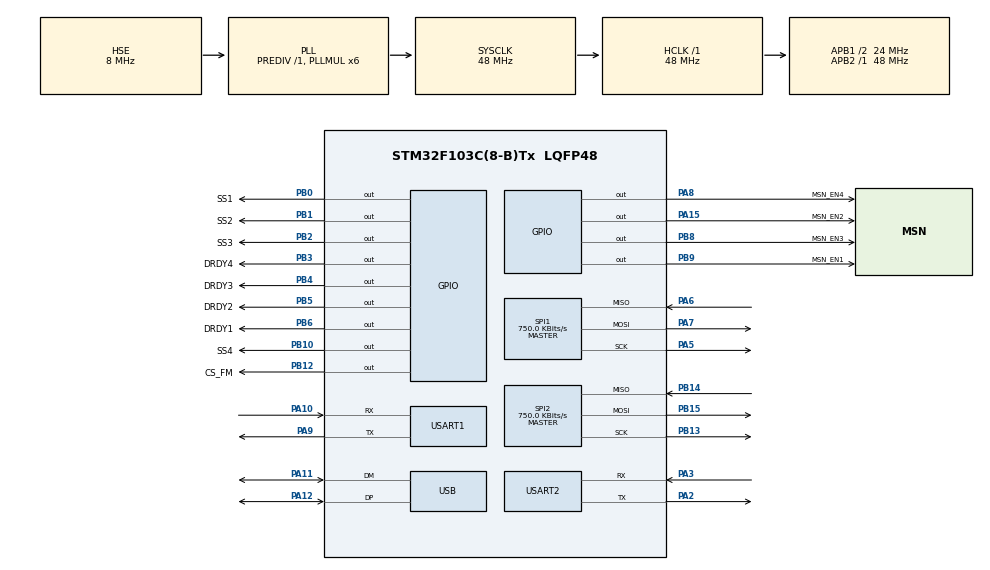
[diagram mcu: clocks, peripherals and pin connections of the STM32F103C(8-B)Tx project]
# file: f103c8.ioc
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Mcu.Family=STM32F1
Mcu.Name=STM32F103C(8-B)Tx
Mcu.Package=LQFP48
NVIC.PriorityGroup=NVIC_PRIORITYGROUP_4
NVIC.RTC_IRQn=true\:0\:0\:false\:false\:true\:true\:true
NVIC.SPI1_IRQn=true\:0\:0\:false\:false\:true\:true\:true
NVIC.SPI2_IRQn=true\:0\:0\:false\:false\:true\:true\:true
NVIC.USB_HP_CAN1_TX_IRQn=true\:0\:0\:false\:false\:true\:true\:true
NVIC.USB_LP_CAN1_RX0_IRQn=true\:0\:0\:false\:false\:true\:true\:true
PA10.Mode=Asynchronous
PA10.Signal=USART1_RX
PA11.Mode=Device
PA11.Signal=USB_DM
PA12.Mode=Device
PA12.Signal=USB_DP
PA13.Mode=Serial_Wire
PA13.Signal=SYS_JTMS-SWDIO
PA14.Mode=Serial_Wire
PA14.Signal=SYS_JTCK-SWCLK
PA15.GPIO_Label=MSN_EN2
PA15.Signal=GPIO_Output
PA2.Mode=Asynchronous
PA2.Signal=USART2_TX
PA3.Mode=Asynchronous
PA3.Signal=USART2_RX
PA5.Mode=Full_Duplex_Master
PA5.Signal=SPI1_SCK
PA6.Mode=Full_Duplex_Master
PA6.Signal=SPI1_MISO
PA7.Mode=Full_Duplex_Master
PA7.Signal=SPI1_MOSI
PA8.GPIO_Label=MSN_EN4
PA8.Signal=GPIO_Output
PA9.Mode=Asynchronous
PA9.Signal=USART1_TX
PB0.GPIO_Label=SS1
PB0.Signal=GPIO_Output
PB1.GPIO_Label=SS2
PB1.Signal=GPIO_Output
PB10.GPIO_Label=SS4
PB10.Signal=GPIO_Output
PB12.GPIO_Label=CS_FM
PB12.Signal=GPIO_Output
PB13.Mode=Full_Duplex_Master
PB13.Signal=SPI2_SCK
PB14.Mode=Full_Duplex_Master
PB14.Signal=SPI2_MISO
PB15.Mode=Full_Duplex_Master
PB15.Signal=SPI2_MOSI
PB2.GPIO_Label=SS3
PB2.Signal=GPIO_Output
PB3.GPIO_Label=DRDY4
PB3.Signal=GPIO_Output
PB4.GPIO_Label=DRDY3
PB4.Signal=GPIO_Output
PB5.GPIO_Label=DRDY2
PB5.Signal=GPIO_Output
PB6.GPIO_Label=DRDY1
PB6.Signal=GPIO_Output
PB8.GPIO_Label=MSN_EN3
PB8.Signal=GPIO_Output
PB9.GPIO_Label=MSN_EN1
PB9.Signal=GPIO_Output
PD0-OSC_IN.Mode=HSE-External-Oscillator
PD0-OSC_IN.Signal=RCC_OSC_IN
PD1-OSC_OUT.Mode=HSE-External-Oscillator
PD1-OSC_OUT.Signal=RCC_OSC_OUT
ProjectManager.HeapSize=0x200
ProjectManager.StackSize=0x400
ProjectManager.TargetToolchain=STM32CubeIDE
RCC.AHBFreq_Value=48000000
RCC.APB1CLKDivider=RCC_HCLK_DIV2
RCC.APB1Freq_Value=24000000
RCC.APB1TimFreq_Value=48000000
RCC.APB2Freq_Value=48000000
RCC.APB2TimFreq_Value=48000000
RCC.HCLKFreq_Value=48000000
RCC.PLLMUL=RCC_PLL_MUL6
RCC.PLLSourceVirtual=RCC_PLLSOURCE_HSE
RCC.SYSCLKFreq_VALUE=48000000
RCC.SYSCLKSource=RCC_SYSCLKSOURCE_PLLCLK
RCC.USBFreq_Value=48000000
SPI1.BaudRatePrescaler=SPI_BAUDRATEPRESCALER_64
SPI1.CalculateBaudRate=750.0 KBits/s
SPI1.Direction=SPI_DIRECTION_2LINES
SPI1.Mode=SPI_MODE_MASTER
SPI1.VirtualType=VM_MASTER
SPI2.BaudRatePrescaler=SPI_BAUDRATEPRESCALER_32
SPI2.CalculateBaudRate=750.0 KBits/s
SPI2.Direction=SPI_DIRECTION_2LINES
SPI2.Mode=SPI_MODE_MASTER
SPI2.VirtualType=VM_MASTER
USART1.VirtualMode=VM_ASYNC
USART2.VirtualMode=VM_ASYNC
VP_RTC_VS_RTC_Activate.Mode=RTC_Enabled
board=custom

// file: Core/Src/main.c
/* USER CODE BEGIN Header */
/**
  ******************************************************************************
  * @file           : main.c
  * @brief          : Main program body
  ******************************************************************************
  * @attention
  *
  * <h2><center>&copy; Copyright (c) 2024 STMicroelectronics.
  * All rights reserved.</center></h2>
  *
  * This software component is licensed by ST under BSD 3-Clause license,
  * the "License"; You may not use this file except in compliance with the
  * License. You may obtain a copy of the License at:
  *                        opensource.org/licenses/BSD-3-Clause
  *
  ******************************************************************************
  */
/* USER CODE END Header */
#include "main.h"

/* USER CODE BEGIN Includes */
#include "stdarg.h"
#include "RM3100QUAD.h"
/* USER CODE END Includes */

/* USER CODE BEGIN PTD */
//#define CDC_USB_DEBUG
#define UART_DEBUG
/* USER CODE END PTD */

/* USER CODE BEGIN PD */
#define sector_size 32
/* USER CODE END PD */

/* USER CODE BEGIN PM */
void myprintf(const char *fmt, ...);
/* USER CODE END PM */

RTC_HandleTypeDef hrtc;

SPI_HandleTypeDef hspi1;
SPI_HandleTypeDef hspi2;

UART_HandleTypeDef huart1;
UART_HandleTypeDef huart2;

PCD_HandleTypeDef hpcd_USB_FS;

/* USER CODE BEGIN PV */
uint16_t address = 0x00;
uint8_t status_reg=0;
uint8_t READ_FLAG=0;
int tx[70];
uint16_t time_counter=0;

uint8_t DEBUG_DATA_RX_FLAG = 0;
// variables used by the filesystem
typedef struct{
	uint32_t secCount;
	uint32_t bootCount;
}app_count_t;
uint8_t data[20];

app_count_t Counter = {0};
//Command for run in differents minutes
uint8_t COMMAND1[] = {0x53,0x0e,0x0d,0x0e,0x01,0x7e}; //Command for 1 minutes
uint8_t COMMAND2[] = {0x53,0x0e,0x0d,0x0e,0x02,0x7e}; //Command for 2 minutes
uint8_t COMMAND3[] = {0x53,0x0e,0x0d,0x0e,0x03,0x7e}; //Command for 3 minutes
uint8_t COMMAND4[] = {0x53,0x0e,0x0d,0x0e,0x04,0x7e}; //command for 4 minutes
uint8_t COMMAND5[] = {0x53,0x0e,0x0d,0x0e,0x05,0x7e}; //command for 5 minutes
uint8_t OBC_HANDSHAKE_SUCESS,OBC_HANDSHAKE_RX[7]={'\0'},OBC_HANDSHAKE_TX[7]={'\0'};//,OBC_HANDSHAKE_RX[7]={'\0'};
uint8_t Read_time = {0};
/* USER CODE END PV */

void SystemClock_Config(void);
static void MX_GPIO_Init(void);
static void MX_SPI1_Init(void);
static void MX_SPI2_Init(void);
static void MX_USART1_UART_Init(void);
static void MX_USART2_UART_Init(void);
static void MX_RTC_Init(void);
static void MX_USB_PCD_Init(void);
/* USER CODE BEGIN PFP */
//Handshake between OBC(Onboard computer) and EPDM board and compare command for run in different minutes
uint8_t OBC_COMMAND(){
	memset(OBC_HANDSHAKE_RX, '\0', sizeof(OBC_HANDSHAKE_RX));
	memset(OBC_HANDSHAKE_TX, '\0', sizeof(OBC_HANDSHAKE_TX));
	OBC_HANDSHAKE_SUCESS = 0;
	do{
	if(HAL_UART_Receive(&huart2, OBC_HANDSHAKE_RX, sizeof(OBC_HANDSHAKE_RX),1000)==HAL_OK){
		if(HAL_UART_Transmit(&huart2, OBC_HANDSHAKE_RX, sizeof(OBC_HANDSHAKE_RX), 3000)==HAL_OK){
			if(OBC_HANDSHAKE_RX[0] == COMMAND1[0] && OBC_HANDSHAKE_RX[1] == COMMAND1[1] && OBC_HANDSHAKE_RX[2] == COMMAND1[2] && OBC_HANDSHAKE_RX[3] == COMMAND1[3] && OBC_HANDSHAKE_RX[4] == COMMAND1[4] && OBC_HANDSHAKE_RX[5] == COMMAND1[5] && OBC_HANDSHAKE_RX[6] == COMMAND1[6] )
				{
				OBC_HANDSHAKE_SUCESS = 1;
				Read_time = 1; //Sets board run for 1 minutes
				HAL_UART_Transmit(&huart1, "COMMAND SUCCESSFULLY\n", "COMMAND SUCCESSFULLY", 1000);

				}
			else if(OBC_HANDSHAKE_RX[0] == COMMAND2[0] && OBC_HANDSHAKE_RX[1] == COMMAND2[1] && OBC_HANDSHAKE_RX[2] == COMMAND2[2] && OBC_HANDSHAKE_RX[3] == COMMAND2[3] && OBC_HANDSHAKE_RX[4] == COMMAND2[4] && OBC_HANDSHAKE_RX[5] == COMMAND2[5] && OBC_HANDSHAKE_RX[6] == COMMAND2[6] )
				{
				OBC_HANDSHAKE_SUCESS = 1;
				Read_time = 2;  //Sets board run for 2 minutes
				HAL_UART_Transmit(&huart1, "COMMAND SUCCESSFULLY\n", "COMMAND SUCCESSFULLY", 1000);

				}
			else if(OBC_HANDSHAKE_RX[0] == COMMAND3[0] && OBC_HANDSHAKE_RX[1] == COMMAND3[1] && OBC_HANDSHAKE_RX[2] == COMMAND3[2] && OBC_HANDSHAKE_RX[3] == COMMAND3[3] && OBC_HANDSHAKE_RX[4] == COMMAND3[4] && OBC_HANDSHAKE_RX[5] == COMMAND3[5] && OBC_HANDSHAKE_RX[6] == COMMAND3[6] )
				{
				OBC_HANDSHAKE_SUCESS = 1;
				Read_time = 3; //Sets board run for 3 minutes
				HAL_UART_Transmit(&huart1, "COMMAND SUCCESSFULLY\n", "COMMAND SUCCESSFULLY", 1000);

				}
			else if(OBC_HANDSHAKE_RX[0] == COMMAND4[0] && OBC_HANDSHAKE_RX[1] == COMMAND4[1] && OBC_HANDSHAKE_RX[2] == COMMAND4[2] && OBC_HANDSHAKE_RX[3] == COMMAND4[3] && OBC_HANDSHAKE_RX[4] == COMMAND4[4] && OBC_HANDSHAKE_RX[5] == COMMAND4[5] && OBC_HANDSHAKE_RX[6] == COMMAND4[6] )
				{
				OBC_HANDSHAKE_SUCESS = 1;
				Read_time = 4;  //Sets board run for 4 minutes
				HAL_UART_Transmit(&huart1, "COMMAND SUCCESSFULLY\n", "COMMAND SUCCESSFULLY", 1000);

				}
			else if(OBC_HANDSHAKE_RX[0] == COMMAND5[0] && OBC_HANDSHAKE_RX[1] == COMMAND5[1] && OBC_HANDSHAKE_RX[2] == COMMAND5[2] && OBC_HANDSHAKE_RX[3] == COMMAND5[3] && OBC_HANDSHAKE_RX[4] == COMMAND5[4] && OBC_HANDSHAKE_RX[5] == COMMAND5[5] && OBC_HANDSHAKE_RX[6] == COMMAND5[6] )
				{
				OBC_HANDSHAKE_SUCESS = 1;
				Read_time = 5;  //Sets board run for 5 minutes
				HAL_UART_Transmit(&huart1, "COMMAND SUCCESSFULLY\n", "COMMAND SUCCESSFULLY", 1000);

				}
			else{
				  Read_time = 5;
				  OBC_HANDSHAKE_SUCESS = 1;

//				  HAL_UART_Transmit(&huart1, "xxxxxxCOMMAND ERRORxxxxxx", sizeof("xxxxxxCOMMAND ERRORxxxxxx"), 1000);
			}
		}
	}
	}while(!OBC_HANDSHAKE_SUCESS);
	return OBC_HANDSHAKE_SUCESS;
}
/* USER CODE END PFP */

/* USER CODE BEGIN 0 */

// Function to read data from a file in LittleFS

/* USER CODE END 0 */

int main(void)
{

  /* MCU Configuration--------------------------------------------------------*/

  /* Reset of all peripherals, Initializes the Flash interface and the Systick. */
  HAL_Init();

  /* Configure the system clock */
  SystemClock_Config();

  /* Initialize all configured peripherals */
  MX_GPIO_Init();
  MX_SPI1_Init();
  MX_SPI2_Init();
  MX_USART1_UART_Init();
  MX_USART2_UART_Init();
  MX_RTC_Init();
  MX_USB_PCD_Init();
  /* USER CODE BEGIN 2 */
  HAL_UART_Transmit(&huart1, "*****************EPDM starting**************\n",sizeof("*****************EPDM starting**************\n"),1000);

//  OBC_HANDSHAKE();
  OBC_COMMAND();
  HAL_GPIO_WritePin(GPIOB, MSN_EN1_Pin, SET); // Set PB9 high
  HAL_GPIO_WritePin(GPIOB, MSN_EN2_Pin, SET); // Set PB8 high
  HAL_GPIO_WritePin(GPIOB, MSN_EN3_Pin, SET); // Set PA15 high
  HAL_GPIO_WritePin(GPIOB, MSN_EN4_Pin, SET); // Set PA8 high
  uint8_t data[20];

//Read ID of Flash memory
  while(1){
	  Read_ID(&hspi2, GPIOB, GPIO_PIN_12, data);
	  if(data[0] == 32){
		  break;
	  }
	  HAL_Delay(10000);
  }
 //Sets parameters of RM3100 magnetometer differents modes
    for(int i=0;i<4;i++){
    	SET_COUNT(i);
    	Continuous_Mode(i);
    	TMRC_Mode(i);
    }
    uint32_t count=0;
    __init_storage();
    uint8_t last[]={'E','P','D','M'}; //Stores before reading data and after reading data
    uint8_t eom[]={0xff,0xd9,'\0'}; //OBC stops mission if received

    HAL_UART_Transmit(&huart2, last, sizeof(last), 1000);//Before reading
    if (Read_time >= 1 && Read_time <= 5) {
    	      uint32_t startTime = HAL_GetTick();  // Record the start time
    	      uint32_t maxDuration = Read_time * 60 * 1000;  // Maximum duration in milliseconds

    	      while (HAL_GetTick() - startTime < maxDuration) {  // Run loop according to the value of Read_time
    	          for (int i = 0; i < 4; i++) {
    	              Mea_Result(i);
    	              Comb_measurement(i);
    	              count += 6;
    	          }
    	          HAL_Delay(100);  // Small delay between measurements
    	      }

    	      // Transmit the total count of bytes sent
    	      myDebug("%d",count);
    	      count = 0;  // Reset count after transmitting
    	      HAL_UART_Transmit(&huart2, last, sizeof(last), 1000); //after reading
    	      HAL_UART_Transmit(&huart2, eom, sizeof(eom), 1000); // OBC stops or turned off EPDM mission
    	      HAL_Delay(90000);  // Wait for 1 minute after sending EOM

    	  } else {
    	      // If Read_time is not in the valid range, send an error message
    	      HAL_UART_Transmit(&huart1, (uint8_t*)"xxxxxx**********ReadTimeInvalid**********xxxxxx", sizeof("xxxxxx**********ReadTimeInvalid**********xxxxxx"), 1000);
    	  }

  /* USER CODE END 2 */

  /* Infinite loop */
  while (1)
  {

  }
}

void SystemClock_Config(void)
{
  RCC_OscInitTypeDef RCC_OscInitStruct = {0};
  RCC_ClkInitTypeDef RCC_ClkInitStruct = {0};
  RCC_PeriphCLKInitTypeDef PeriphClkInit = {0};

  /** Initializes the RCC Oscillators according to the specified parameters
  * in the RCC_OscInitTypeDef structure.
  */
  RCC_OscInitStruct.OscillatorType = RCC_OSCILLATORTYPE_LSI|RCC_OSCILLATORTYPE_HSE;
  RCC_OscInitStruct.HSEState = RCC_HSE_ON;
  RCC_OscInitStruct.HSEPredivValue = RCC_HSE_PREDIV_DIV1;
  RCC_OscInitStruct.HSIState = RCC_HSI_ON;
  RCC_OscInitStruct.LSIState = RCC_LSI_ON;
  RCC_OscInitStruct.PLL.PLLState = RCC_PLL_ON;
  RCC_OscInitStruct.PLL.PLLSource = RCC_PLLSOURCE_HSE;
  RCC_OscInitStruct.PLL.PLLMUL = RCC_PLL_MUL6;
  if (HAL_RCC_OscConfig(&RCC_OscInitStruct) != HAL_OK)
  {
    Error_Handler();
  }
  /** Initializes the CPU, AHB and APB buses clocks
  */
  RCC_ClkInitStruct.ClockType = RCC_CLOCKTYPE_HCLK|RCC_CLOCKTYPE_SYSCLK
                              |RCC_CLOCKTYPE_PCLK1|RCC_CLOCKTYPE_PCLK2;
  RCC_ClkInitStruct.SYSCLKSource = RCC_SYSCLKSOURCE_PLLCLK;
  RCC_ClkInitStruct.AHBCLKDivider = RCC_SYSCLK_DIV1;
  RCC_ClkInitStruct.APB1CLKDivider = RCC_HCLK_DIV2;
  RCC_ClkInitStruct.APB2CLKDivider = RCC_HCLK_DIV1;

  if (HAL_RCC_ClockConfig(&RCC_ClkInitStruct, FLASH_LATENCY_1) != HAL_OK)
  {
    Error_Handler();
  }
  PeriphClkInit.PeriphClockSelection = RCC_PERIPHCLK_RTC|RCC_PERIPHCLK_USB;
  PeriphClkInit.RTCClockSelection = RCC_RTCCLKSOURCE_LSI;
  PeriphClkInit.UsbClockSelection = RCC_USBCLKSOURCE_PLL;
  if (HAL_RCCEx_PeriphCLKConfig(&PeriphClkInit) != HAL_OK)
  {
    Error_Handler();
  }
}

static void MX_RTC_Init(void)
{

  /** Initialize RTC Only
  */
  hrtc.Instance = RTC;
  hrtc.Init.AsynchPrediv = RTC_AUTO_1_SECOND;
  hrtc.Init.OutPut = RTC_OUTPUTSOURCE_ALARM;
  if (HAL_RTC_Init(&hrtc) != HAL_OK)
  {
    Error_Handler();
  }

}

static void MX_SPI1_Init(void)
{

  /* SPI1 parameter configuration*/
  hspi1.Instance = SPI1;
  hspi1.Init.Mode = SPI_MODE_MASTER;
  hspi1.Init.Direction = SPI_DIRECTION_2LINES;
  hspi1.Init.DataSize = SPI_DATASIZE_8BIT;
  hspi1.Init.CLKPolarity = SPI_POLARITY_LOW;
  hspi1.Init.CLKPhase = SPI_PHASE_1EDGE;
  hspi1.Init.NSS = SPI_NSS_SOFT;
  hspi1.Init.BaudRatePrescaler = SPI_BAUDRATEPRESCALER_64;
  hspi1.Init.FirstBit = SPI_FIRSTBIT_MSB;
  hspi1.Init.TIMode = SPI_TIMODE_DISABLE;
  hspi1.Init.CRCCalculation = SPI_CRCCALCULATION_DISABLE;
  hspi1.Init.CRCPolynomial = 10;
  if (HAL_SPI_Init(&hspi1) != HAL_OK)
  {
    Error_Handler();
  }

}

static void MX_SPI2_Init(void)
{

  /* SPI2 parameter configuration*/
  hspi2.Instance = SPI2;
  hspi2.Init.Mode = SPI_MODE_MASTER;
  hspi2.Init.Direction = SPI_DIRECTION_2LINES;
  hspi2.Init.DataSize = SPI_DATASIZE_8BIT;
  hspi2.Init.CLKPolarity = SPI_POLARITY_LOW;
  hspi2.Init.CLKPhase = SPI_PHASE_1EDGE;
  hspi2.Init.NSS = SPI_NSS_SOFT;
  hspi2.Init.BaudRatePrescaler = SPI_BAUDRATEPRESCALER_32;
  hspi2.Init.FirstBit = SPI_FIRSTBIT_MSB;
  hspi2.Init.TIMode = SPI_TIMODE_DISABLE;
  hspi2.Init.CRCCalculation = SPI_CRCCALCULATION_DISABLE;
  hspi2.Init.CRCPolynomial = 10;
  if (HAL_SPI_Init(&hspi2) != HAL_OK)
  {
    Error_Handler();
  }

}

static void MX_USART1_UART_Init(void)
{

  huart1.Instance = USART1;
  huart1.Init.BaudRate = 115200;
  huart1.Init.WordLength = UART_WORDLENGTH_8B;
  huart1.Init.StopBits = UART_STOPBITS_1;
  huart1.Init.Parity = UART_PARITY_NONE;
  huart1.Init.Mode = UART_MODE_TX_RX;
  huart1.Init.HwFlowCtl = UART_HWCONTROL_NONE;
  huart1.Init.OverSampling = UART_OVERSAMPLING_16;
  if (HAL_UART_Init(&huart1) != HAL_OK)
  {
    Error_Handler();
  }

}

static void MX_USART2_UART_Init(void)
{

  huart2.Instance = USART2;
  huart2.Init.BaudRate = 115200;
  huart2.Init.WordLength = UART_WORDLENGTH_8B;
  huart2.Init.StopBits = UART_STOPBITS_1;
  huart2.Init.Parity = UART_PARITY_NONE;
  huart2.Init.Mode = UART_MODE_TX_RX;
  huart2.Init.HwFlowCtl = UART_HWCONTROL_NONE;
  huart2.Init.OverSampling = UART_OVERSAMPLING_16;
  if (HAL_UART_Init(&huart2) != HAL_OK)
  {
    Error_Handler();
  }

}

static void MX_USB_PCD_Init(void)
{

  hpcd_USB_FS.Instance = USB;
  hpcd_USB_FS.Init.dev_endpoints = 8;
  hpcd_USB_FS.Init.speed = PCD_SPEED_FULL;
  hpcd_USB_FS.Init.low_power_enable = DISABLE;
  hpcd_USB_FS.Init.lpm_enable = DISABLE;
  hpcd_USB_FS.Init.battery_charging_enable = DISABLE;
  if (HAL_PCD_Init(&hpcd_USB_FS) != HAL_OK)
  {
    Error_Handler();
  }

}

static void MX_GPIO_Init(void)
{
  GPIO_InitTypeDef GPIO_InitStruct = {0};

  /* GPIO Ports Clock Enable */
  __HAL_RCC_GPIOD_CLK_ENABLE();
  __HAL_RCC_GPIOA_CLK_ENABLE();
  __HAL_RCC_GPIOB_CLK_ENABLE();

  /*Configure GPIO pin Output Level */
  HAL_GPIO_WritePin(GPIOB, SS1_Pin|SS2_Pin|SS3_Pin|SS4_Pin
                          |CS_FM_Pin|DRDY4_Pin|DRDY3_Pin|DRDY2_Pin
                          |DRDY1_Pin|MSN_EN3_Pin|MSN_EN1_Pin, GPIO_PIN_RESET);

  /*Configure GPIO pin Output Level */
  HAL_GPIO_WritePin(GPIOA, MSN_EN4_Pin|MSN_EN2_Pin, GPIO_PIN_RESET);

  /*Configure GPIO pins : SS1_Pin SS2_Pin SS3_Pin SS4_Pin
                           CS_FM_Pin DRDY4_Pin DRDY3_Pin DRDY2_Pin
                           DRDY1_Pin MSN_EN3_Pin MSN_EN1_Pin */
  GPIO_InitStruct.Pin = SS1_Pin|SS2_Pin|SS3_Pin|SS4_Pin
                          |CS_FM_Pin|DRDY4_Pin|DRDY3_Pin|DRDY2_Pin
                          |DRDY1_Pin|MSN_EN3_Pin|MSN_EN1_Pin;
  GPIO_InitStruct.Mode = GPIO_MODE_OUTPUT_PP;
  GPIO_InitStruct.Pull = GPIO_NOPULL;
  GPIO_InitStruct.Speed = GPIO_SPEED_FREQ_LOW;
  HAL_GPIO_Init(GPIOB, &GPIO_InitStruct);

  /*Configure GPIO pins : MSN_EN4_Pin MSN_EN2_Pin */
  GPIO_InitStruct.Pin = MSN_EN4_Pin|MSN_EN2_Pin;
  GPIO_InitStruct.Mode = GPIO_MODE_OUTPUT_PP;
  GPIO_InitStruct.Pull = GPIO_NOPULL;
  GPIO_InitStruct.Speed = GPIO_SPEED_FREQ_LOW;
  HAL_GPIO_Init(GPIOA, &GPIO_InitStruct);

}

/* USER CODE BEGIN 4 */
//void myprintf(const char *fmt, ...) {
//    va_list args;
//    va_start(args, fmt);
//    char buffer[100];
//    vsnprintf(buffer, sizeof(buffer), fmt, args);
//    HAL_UART_Transmit(&DEBUG_UART, (uint8_t*) buffer, strlen(buffer), HAL_MAX_DELAY);
//    va_end(args);
//}

/* USER CODE END 4 */

void Error_Handler(void)
{
  __disable_irq();
  while (1)
  {
  }
}

/************************ (C) COPYRIGHT STMicroelectronics *****END OF FILE****/
